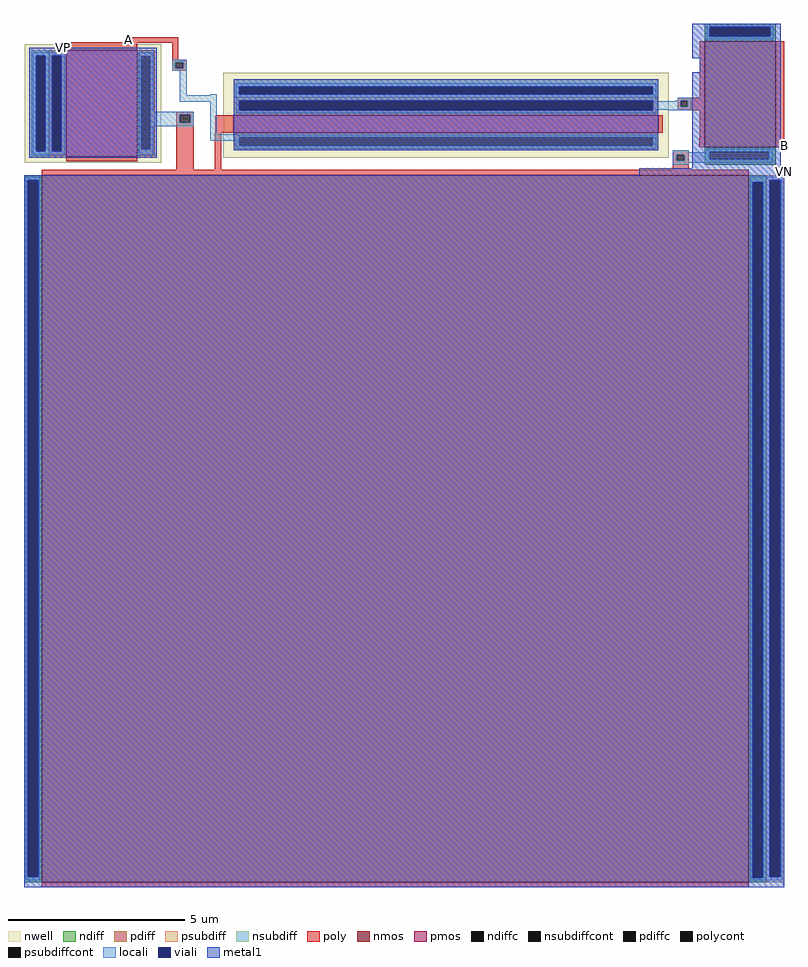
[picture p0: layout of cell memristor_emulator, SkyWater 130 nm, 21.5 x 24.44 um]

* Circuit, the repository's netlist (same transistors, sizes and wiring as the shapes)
* NGSPICE file created from memristor_emulator.ext - technology: sky130A

X0 VN B a_0_n30# VN sky130_fd_pr__nfet_01v8 ad=1 pd=5 as=1 ps=5 w=2 l=3
X1 VN a_0_n30# VN VN sky130_fd_pr__nfet_01v8 ad=10 pd=41 as=21 ps=87 w=20 l=20
X2 B a_0_n30# A B sky130_fd_pr__pfet_01v8 ad=6 pd=25 as=6 ps=25 w=12 l=0.5
X3 a_0_n30# A VP VP sky130_fd_pr__pfet_01v8 ad=1.5 pd=7 as=1.5 ps=7 w=3 l=2
.ends

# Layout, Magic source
magic
tech sky130A
<< nwell >>
rect -48 2035 338 2371
rect 514 2050 1774 2290
<< nmos >>
rect 1876 2079 2076 2379
rect 0 0 2000 2000
<< pmos >>
rect 70 2053 270 2353
rect 544 2120 1744 2170
<< ndiff >>
rect 1876 2419 2076 2429
rect 1876 2393 1890 2419
rect 2061 2393 2076 2419
rect 1876 2379 2076 2393
rect 1876 2066 2076 2079
rect 1876 2045 1890 2066
rect 2057 2045 2076 2066
rect 1876 2029 2076 2045
rect -50 1983 0 2000
rect -50 16 -38 1983
rect -10 16 0 1983
rect -50 0 0 16
rect 2000 1980 2050 2000
rect 2000 13 2012 1980
rect 2040 13 2050 1980
rect 2000 0 2050 13
<< pdiff >>
rect 20 2338 70 2353
rect 20 2068 30 2338
rect 55 2068 70 2338
rect 20 2053 70 2068
rect 270 2337 320 2353
rect 270 2073 282 2337
rect 307 2073 320 2337
rect 544 2210 1744 2220
rect 544 2185 559 2210
rect 1729 2185 1744 2210
rect 270 2053 320 2073
rect 544 2170 1744 2185
rect 544 2108 1744 2120
rect 544 2083 559 2108
rect 1729 2083 1744 2108
rect 544 2070 1744 2083
<< ndiffc >>
rect 1890 2393 2061 2419
rect 1890 2045 2057 2066
rect -38 16 -10 1983
rect 2012 13 2040 1980
<< pdiffc >>
rect 30 2068 55 2338
rect 282 2073 307 2337
rect 559 2185 1729 2210
rect 559 2083 1729 2108
<< psubdiff >>
rect 2050 1985 2100 2000
rect 2050 15 2060 1985
rect 2090 15 2100 1985
rect 2050 0 2100 15
<< nsubdiff >>
rect -30 2338 20 2353
rect -30 2068 -15 2338
rect 10 2068 20 2338
rect -30 2053 20 2068
rect 544 2250 1744 2271
rect 544 2229 559 2250
rect 1729 2229 1744 2250
rect 544 2220 1744 2229
<< psubdiffcont >>
rect 2060 15 2090 1985
<< nsubdiffcont >>
rect -15 2068 10 2338
rect 559 2229 1729 2250
<< poly >>
rect 245 2376 386 2390
rect 70 2375 386 2376
rect 70 2353 270 2375
rect 369 2327 386 2375
rect 369 2324 410 2327
rect 370 2320 410 2324
rect 370 2303 378 2320
rect 401 2303 410 2320
rect 370 2295 410 2303
rect 1861 2219 1876 2379
rect 380 2171 430 2180
rect 380 2149 390 2171
rect 420 2149 430 2171
rect 1799 2211 1876 2219
rect 1799 2193 1808 2211
rect 1828 2193 1876 2211
rect 1799 2183 1876 2193
rect 70 2040 270 2053
rect 380 2015 430 2149
rect 491 2120 544 2170
rect 1744 2120 1757 2170
rect 490 2015 508 2120
rect 1861 2104 1876 2183
rect 1860 2080 1876 2104
rect 1861 2079 1876 2080
rect 2076 2079 2100 2379
rect 1785 2058 1830 2070
rect 1785 2041 1796 2058
rect 1818 2041 1830 2058
rect 1785 2015 1830 2041
rect 0 2000 2000 2015
rect 0 -15 2000 0
<< polycont >>
rect 378 2303 401 2320
rect 390 2149 420 2171
rect 1808 2193 1828 2211
rect 1796 2041 1818 2058
<< locali >>
rect 1882 2419 2070 2423
rect 1882 2393 1890 2419
rect 2061 2393 2070 2419
rect 1882 2385 2070 2393
rect -25 2338 65 2348
rect -25 2068 -15 2338
rect 10 2068 30 2338
rect 55 2068 65 2338
rect -25 2058 65 2068
rect 275 2337 315 2348
rect 275 2073 282 2337
rect 307 2180 315 2337
rect 370 2320 410 2327
rect 370 2303 378 2320
rect 401 2303 410 2320
rect 370 2295 410 2303
rect 390 2226 410 2295
rect 549 2250 1739 2260
rect 549 2229 559 2250
rect 1729 2229 1739 2250
rect 477 2226 495 2229
rect 390 2208 495 2226
rect 549 2217 1739 2229
rect 307 2171 430 2180
rect 307 2149 390 2171
rect 420 2149 430 2171
rect 307 2138 430 2149
rect 307 2073 315 2138
rect 477 2116 495 2208
rect 550 2210 1739 2217
rect 1799 2211 1837 2219
rect 550 2184 559 2210
rect 1729 2209 1739 2210
rect 1793 2209 1808 2211
rect 1729 2193 1808 2209
rect 1828 2193 1837 2211
rect 1729 2185 1837 2193
rect 1729 2184 1739 2185
rect 1771 2184 1837 2185
rect 550 2175 1739 2184
rect 477 2115 552 2116
rect 477 2108 1739 2115
rect 477 2099 559 2108
rect 478 2098 559 2099
rect 549 2083 559 2098
rect 1729 2083 1739 2108
rect 549 2075 1739 2083
rect 275 2058 315 2073
rect 1785 2065 1830 2070
rect 1881 2066 2068 2075
rect 1881 2065 1890 2066
rect 1785 2058 1890 2065
rect 1785 2041 1796 2058
rect 1818 2045 1890 2058
rect 2057 2045 2068 2066
rect 1818 2041 2068 2045
rect 1785 2035 2068 2041
rect 1785 2030 1830 2035
rect -45 1986 -5 1995
rect -45 16 -40 1986
rect -10 16 -5 1986
rect -45 5 -5 16
rect 2005 1985 2095 1995
rect 2005 1980 2060 1985
rect 2005 13 2012 1980
rect 2040 15 2060 1980
rect 2090 15 2095 1985
rect 2040 13 2095 15
rect 2005 5 2095 13
<< viali >>
rect 1890 2393 2061 2419
rect -15 2068 10 2338
rect 30 2068 55 2338
rect 559 2229 1729 2250
rect 559 2185 1729 2210
rect 559 2184 1729 2185
rect -40 1983 -10 1986
rect -40 16 -38 1983
rect -38 16 -10 1983
rect 2012 13 2040 1980
rect 2060 15 2090 1985
<< metal1 >>
rect 1840 2419 2091 2429
rect 1840 2393 1890 2419
rect 2061 2393 2091 2419
rect -35 2338 325 2360
rect -35 2068 -15 2338
rect 10 2068 30 2338
rect 55 2068 325 2338
rect 1840 2331 2091 2393
rect 1861 2291 2091 2331
rect 543 2250 1744 2271
rect 543 2229 559 2250
rect 1729 2229 1744 2250
rect 543 2210 1744 2229
rect 543 2184 559 2210
rect 1729 2184 1744 2210
rect 543 2070 1744 2184
rect -35 2050 325 2068
rect 1840 2019 2091 2291
rect 1690 2000 2100 2019
rect -50 1986 2100 2000
rect -50 16 -40 1986
rect -10 1985 2100 1986
rect -10 1980 2060 1985
rect -10 16 2012 1980
rect -50 13 2012 16
rect 2040 15 2060 1980
rect 2090 15 2100 1985
rect 2040 13 2100 15
rect -50 -15 2100 13
<< labels >>
rlabel metal1 2100 2010 2100 2010 3 VN
port 3 e
rlabel poly 2100 2085 2100 2085 3 B
port 2 e
rlabel metal1 63 2360 63 2360 1 VP
port 4 n
rlabel poly 245 2385 245 2385 7 A
port 1 w
<< end >>
